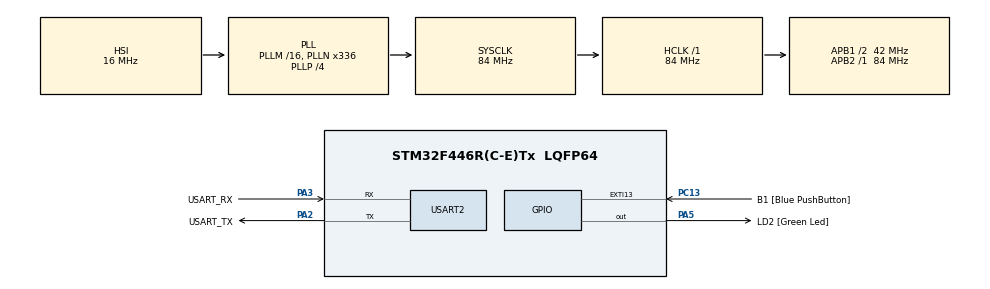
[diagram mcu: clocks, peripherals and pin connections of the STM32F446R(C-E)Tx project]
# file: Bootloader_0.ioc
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Mcu.Family=STM32F4
Mcu.Name=STM32F446R(C-E)Tx
Mcu.Package=LQFP64
NVIC.PriorityGroup=NVIC_PRIORITYGROUP_0
PA13.GPIO_Label=TMS
PA13.Mode=Serial_Wire
PA13.Signal=SYS_JTMS-SWDIO
PA14.GPIO_Label=TCK
PA14.Mode=Serial_Wire
PA14.Signal=SYS_JTCK-SWCLK
PA2.GPIO_Label=USART_TX
PA2.Mode=Asynchronous
PA2.Signal=USART2_TX
PA3.GPIO_Label=USART_RX
PA3.Mode=Asynchronous
PA3.Signal=USART2_RX
PA5.GPIO_Label=LD2 [Green Led]
PA5.Signal=GPIO_Output
PB3.GPIO_Label=SWO
PB3.Signal=SYS_JTDO-SWO
PC13.GPIO_Label=B1 [Blue PushButton]
PC13.GPIO_ModeDefaultEXTI=GPIO_MODE_IT_FALLING
PC13.Signal=GPXTI13
PC14-OSC32_IN.Mode=LSE-External-Oscillator
PC14-OSC32_IN.Signal=RCC_OSC32_IN
PC15-OSC32_OUT.Mode=LSE-External-Oscillator
PC15-OSC32_OUT.Signal=RCC_OSC32_OUT
PH0-OSC_IN.Mode=HSE-External-Oscillator
PH0-OSC_IN.Signal=RCC_OSC_IN
PH1-OSC_OUT.Mode=HSE-External-Oscillator
PH1-OSC_OUT.Signal=RCC_OSC_OUT
ProjectManager.HeapSize=0x200
ProjectManager.StackSize=0x400
ProjectManager.TargetToolchain=STM32CubeIDE
RCC.48MHZClocksFreq_Value=84000000
RCC.AHBFreq_Value=84000000
RCC.APB1CLKDivider=RCC_HCLK_DIV2
RCC.APB1Freq_Value=42000000
RCC.APB1TimFreq_Value=84000000
RCC.APB2Freq_Value=84000000
RCC.APB2TimFreq_Value=84000000
RCC.CortexFreq_Value=84000000
RCC.FLatency-AdvancedSettings=FLASH_LATENCY_2
RCC.HCLKFreq_Value=84000000
RCC.HSE_VALUE=8000000
RCC.HSI_VALUE=16000000
RCC.PLLN=336
RCC.PLLP=RCC_PLLP_DIV4
RCC.SYSCLKFreq_VALUE=84000000
RCC.SYSCLKSource=RCC_SYSCLKSOURCE_PLLCLK
RCC.USBFreq_Value=168000000
RCC.VCOOutputFreq_Value=336000000
USART2.VirtualMode=VM_ASYNC
VP_CRC_VS_CRC.Mode=CRC_Activate
board=NUCLEO-F446RE

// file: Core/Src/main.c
/* USER CODE BEGIN Header */
/**
  ******************************************************************************
  * @file           : main.c
  * @brief          : Main program body
  ******************************************************************************
  * @attention
  *
  * Copyright (c) 2023 STMicroelectronics.
  * All rights reserved.
  *
  * This software is licensed under terms that can be found in the LICENSE file
  * in the root directory of this software component.
  * If no LICENSE file comes with this software, it is provided AS-IS.
  *
  ******************************************************************************
  */
/* USER CODE END Header */
#include "main.h"

/* USER CODE BEGIN PD */

#define FLASH_SECTOR2_BASE_ADDRESS	0x8008000UL

/* USER CODE END PD */

CRC_HandleTypeDef hcrc;

UART_HandleTypeDef huart2;

void SystemClock_Config(void);
static void MX_GPIO_Init(void);
static void MX_USART2_UART_Init(void);
static void MX_CRC_Init(void);

int main(void)
{
  /* USER CODE BEGIN 1 */
	char HelloBootloader[]="Hello From Bootloader \r \n" ;

  /* USER CODE END 1 */

  /* MCU Configuration--------------------------------------------------------*/

  /* Reset of all peripherals, Initializes the Flash interface and the Systick. */
  HAL_Init();

  /* Configure the system clock */
  SystemClock_Config();

  /* Initialize all configured peripherals */
  MX_GPIO_Init();
  MX_USART2_UART_Init();
  MX_CRC_Init();
  /* USER CODE BEGIN 2 */
  if(HAL_GPIO_ReadPin(B1_GPIO_Port, B1_Pin)==GPIO_PIN_RESET)
  {
	  /*Button pushed*/
	  BootLoader_UartReadData();

  }
  else
  {
	  BootLoader_JumpUserApp();
  }

  /* USER CODE END 2 */

  /* Infinite loop */
  while (1)
  {
	  HAL_UART_Transmit(&huart2, (uint8_t*)HelloBootloader, sizeof(HelloBootloader), HAL_MAX_DELAY);

	  HAL_Delay(1000);

  }
}

void SystemClock_Config(void)
{
  RCC_OscInitTypeDef RCC_OscInitStruct = {0};
  RCC_ClkInitTypeDef RCC_ClkInitStruct = {0};

  /** Configure the main internal regulator output voltage
  */
  __HAL_RCC_PWR_CLK_ENABLE();
  __HAL_PWR_VOLTAGESCALING_CONFIG(PWR_REGULATOR_VOLTAGE_SCALE3);

  /** Initializes the RCC Oscillators according to the specified parameters
  * in the RCC_OscInitTypeDef structure.
  */
  RCC_OscInitStruct.OscillatorType = RCC_OSCILLATORTYPE_HSI;
  RCC_OscInitStruct.HSIState = RCC_HSI_ON;
  RCC_OscInitStruct.HSICalibrationValue = RCC_HSICALIBRATION_DEFAULT;
  RCC_OscInitStruct.PLL.PLLState = RCC_PLL_ON;
  RCC_OscInitStruct.PLL.PLLSource = RCC_PLLSOURCE_HSI;
  RCC_OscInitStruct.PLL.PLLM = 16;
  RCC_OscInitStruct.PLL.PLLN = 336;
  RCC_OscInitStruct.PLL.PLLP = RCC_PLLP_DIV4;
  RCC_OscInitStruct.PLL.PLLQ = 2;
  RCC_OscInitStruct.PLL.PLLR = 2;
  if (HAL_RCC_OscConfig(&RCC_OscInitStruct) != HAL_OK)
  {
    Error_Handler();
  }

  /** Initializes the CPU, AHB and APB buses clocks
  */
  RCC_ClkInitStruct.ClockType = RCC_CLOCKTYPE_HCLK|RCC_CLOCKTYPE_SYSCLK
                              |RCC_CLOCKTYPE_PCLK1|RCC_CLOCKTYPE_PCLK2;
  RCC_ClkInitStruct.SYSCLKSource = RCC_SYSCLKSOURCE_PLLCLK;
  RCC_ClkInitStruct.AHBCLKDivider = RCC_SYSCLK_DIV1;
  RCC_ClkInitStruct.APB1CLKDivider = RCC_HCLK_DIV2;
  RCC_ClkInitStruct.APB2CLKDivider = RCC_HCLK_DIV1;

  if (HAL_RCC_ClockConfig(&RCC_ClkInitStruct, FLASH_LATENCY_2) != HAL_OK)
  {
    Error_Handler();
  }
}

static void MX_CRC_Init(void)
{

  hcrc.Instance = CRC;
  if (HAL_CRC_Init(&hcrc) != HAL_OK)
  {
    Error_Handler();
  }

}

static void MX_USART2_UART_Init(void)
{

  huart2.Instance = USART2;
  huart2.Init.BaudRate = 115200;
  huart2.Init.WordLength = UART_WORDLENGTH_8B;
  huart2.Init.StopBits = UART_STOPBITS_1;
  huart2.Init.Parity = UART_PARITY_NONE;
  huart2.Init.Mode = UART_MODE_TX_RX;
  huart2.Init.HwFlowCtl = UART_HWCONTROL_NONE;
  huart2.Init.OverSampling = UART_OVERSAMPLING_16;
  if (HAL_UART_Init(&huart2) != HAL_OK)
  {
    Error_Handler();
  }

}

static void MX_GPIO_Init(void)
{
  GPIO_InitTypeDef GPIO_InitStruct = {0};

  /* GPIO Ports Clock Enable */
  __HAL_RCC_GPIOC_CLK_ENABLE();
  __HAL_RCC_GPIOH_CLK_ENABLE();
  __HAL_RCC_GPIOA_CLK_ENABLE();
  __HAL_RCC_GPIOB_CLK_ENABLE();

  /*Configure GPIO pin Output Level */
  HAL_GPIO_WritePin(LD2_GPIO_Port, LD2_Pin, GPIO_PIN_RESET);

  /*Configure GPIO pin : B1_Pin */
  GPIO_InitStruct.Pin = B1_Pin;
  GPIO_InitStruct.Mode = GPIO_MODE_IT_FALLING;
  GPIO_InitStruct.Pull = GPIO_NOPULL;
  HAL_GPIO_Init(B1_GPIO_Port, &GPIO_InitStruct);

  /*Configure GPIO pin : LD2_Pin */
  GPIO_InitStruct.Pin = LD2_Pin;
  GPIO_InitStruct.Mode = GPIO_MODE_OUTPUT_PP;
  GPIO_InitStruct.Pull = GPIO_NOPULL;
  GPIO_InitStruct.Speed = GPIO_SPEED_FREQ_LOW;
  HAL_GPIO_Init(LD2_GPIO_Port, &GPIO_InitStruct);

}

/* USER CODE BEGIN 4 */

void  BootLoader_UartReadData()
{

}
void  BootLoader_JumpUserApp()
{
	/*Pointer To Function To Hold Reset Handler User App */
	void (*AppResetHandler)(void);

	uint32_t ResetHandlerAddress ;

	uint32_t Local_U32MSPValue ;

	/*Configure MSP Of User App By Reading Value of Base Address Of Sector 2*/

	 Local_U32MSPValue = *((volatile uint32_t*)(FLASH_SECTOR2_BASE_ADDRESS));

	/*Write The User MSP Value into MSP Register*/
	__asm volatile("MSR MSP, %0"::"r"(Local_U32MSPValue));

	/*Get Reset Handler Of User APP*/
	 ResetHandlerAddress = *((volatile uint32_t*)(FLASH_SECTOR2_BASE_ADDRESS+4));

	AppResetHandler = (void*)ResetHandlerAddress ;

	/*Jump To User App */

	AppResetHandler();
}

/* USER CODE END 4 */

void Error_Handler(void)
{
  __disable_irq();
  while (1)
  {
  }
}
